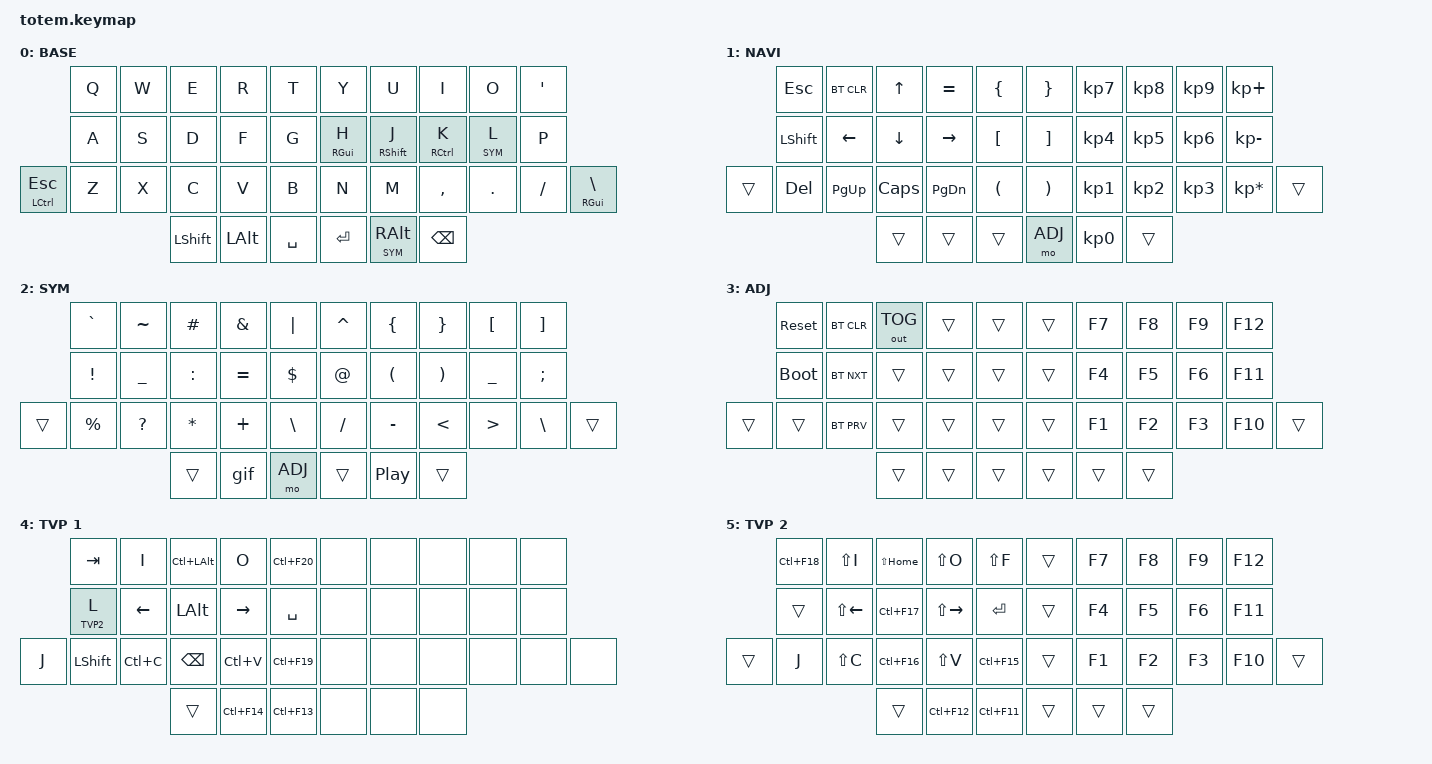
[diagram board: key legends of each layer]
//
//                                                        ▀▀▀▀▀     ▀▀▀▀▀          ▀▀█▀▀
//                                                        ▄▀▀▀▄  ▄  ▄▀▀▀▄  ▄  ▄▀▀▀▄  █  ▄▀▀▀▄
//                                                        █   █  █  █   █  █  █   █  █  █   █
//                                                         ▀▀▀   █   ▀▀▀   █   ▀▀▀   ▀   ▀▀▀
//                                                               █      ▄▄▄█▄▄▄    █   █  
//                                                               ▀      █  █  █     █▄█
//                                                             ▀▀▀▀▀    █  █  █      ▀
//                                                                      ▀  ▀  ▀
//
// ▄▄▄▄▄▄▄▄▄▄▄▄▄▄▄▄▄▄▄▄▄▄▄▄▄▄▄▄▄▄▄▄▄▄▄▄▄▄▄▄▄▄▄▄▄▄▄▄▄▄▄▄▄▄▄▄▄▄▄▄▄▄▄▄▄▄▄▄▄▄▄▄▄▄▄▄▄▄▄▄▄▄▄▄▄▄▄▄▄▄▄▄▄▄▄▄▄▄▄▄▄▄▄▄▄▄▄▄▄▄▄▄▄▄▄▄▄▄▄▄▄▄▄▄▄▄▄▄▄▄▄▄▄▄▄▄▄▄▄▄▄▄▄▄▄▄▄▄▄
       

#include <behaviors.dtsi>
#include <dt-bindings/zmk/keys.h>
#include <dt-bindings/zmk/bt.h>
#include <dt-bindings/zmk/outputs.h>

#define BASE 0
#define NAV  1
#define SYM  2
#define ADJ  3
#define TVP1 4
#define TVP2 5

&mt {
  quick-tap-ms = <100>;
  global-quick-tap;
  flavor = "tap-preferred";
  tapping-term-ms = <170>;
};

/ {
     combos {
            compatible = "zmk,combos";
            combo_esc {
                timeout-ms = <50>;
                key-positions = <0 1>;
                bindings = <&kp ESC>;
            };
            combo_tvp {
                timeout-ms = <100>;
                key-positions = <11 12 13>;
                bindings = <&tog TVP1>;
            };
    };

    macros {
        gif: gif {
            label = "giphy";
            compatible = "zmk,behavior-macro";
            #binding-cells = <0>;
            bindings
                = <&macro_press &kp LSHFT>
                , <&macro_tap &kp N2>
                , <&macro_release &kp LSHFT>
                , <&macro_tap &kp G &kp I &kp F>
                ;
        };
    };

        keymap {
                compatible = "zmk,keymap";
// ▄▄▄▄▄▄▄▄▄▄▄▄▄▄▄▄▄▄▄▄▄▄▄▄▄▄▄▄▄▄▄▄▄▄▄▄▄▄▄▄▄▄▄▄▄▄▄▄▄▄▄▄▄▄▄▄▄▄▄▄▄▄▄▄▄▄▄▄▄▄▄▄▄▄▄▄▄▄▄▄▄▄▄▄▄▄▄▄▄▄▄▄▄▄▄▄▄▄▄▄▄▄▄▄▄▄▄▄▄▄▄▄▄▄▄▄▄▄▄▄▄▄▄▄▄▄▄▄▄▄▄▄▄▄▄▄▄▄▄▄▄▄▄▄▄▄▄▄▄

                base_layer {
// ┏━━━━━━━━━━━━━━━━━━━━━━━━━━━━━━━━━━━━━━━┓
label= "BASE"                              ;
// ┗━━━━━━━━━━━━━━━━━━━━━━━━━━━━━━━━━━━━━━━┛

//             ┏━━━━━━━━━━━┳━━━━━━━━━━━┳━━━━━━━━━━━┳━━━━━━━━━━━┳━━━━━━━━━━━┓   ┏━━━━━━━━━━━┳━━━━━━━━━━━┳━━━━━━━━━━━┳━━━━━━━━━━━┳━━━━━━━━━━━┓
//             ┃     Q     ┃     W     ┃     E     ┃     R     ┃     T     ┃   ┃     Y     ┃     U     ┃     I     ┃     O     ┃     '     ┃
//             ┣━━━━━━━━━━━╋━━━━━━━━━━━╋━━━━━━━━━━━╋━━━━━━━━━━━╋━━━━━━━━━━━┫   ┣━━━━━━━━━━━╋━━━━━━━━━━━╋━━━━━━━━━━━╋━━━━━━━━━━━╋━━━━━━━━━━━┫
//             ┃     A     ┃     S     ┃     D     ┃     F     ┃     G     ┃   ┃     H     ┃     J     ┃     K     ┃     L     ┃     P     ┃
// ┏━━━━━━━━━━━╋━━━━━━━━━━━╋━━━━━━━━━━━╋━━━━━━━━━━━╋━━━━━━━━━━━╋━━━━━━━━━━━┫   ┣━━━━━━━━━━━╋━━━━━━━━━━━╋━━━━━━━━━━━╋━━━━━━━━━━━╋━━━━━━━━━━━╋━━━━━━━━━━━┓
// ┃     ESC   ┃     Z     ┃     X     ┃     C     ┃     V     ┃     B     ┃   ┃     N     ┃     M     ┃     ,     ┃     .     ┃     /     ┃     \     ┃
// ┗━━━━━━━━━━━┻━━━━━━━━━━━┻━━━━━━━━━━━╋━━━━━━━━━━━╋━━━━━━━━━━━╋━━━━━━━━━━━┫   ┣━━━━━━━━━━━╋━━━━━━━━━━━╋━━━━━━━━━━━╋━━━━━━━━━━━┻━━━━━━━━━━━┻━━━━━━━━━━━┛
//                                     ┃    DEL    ┃    TAB    ┃    SPC    ┃   ┃   ENTER   ┃   RALT    ┃   BSPC    ┃
//                                     ┗━━━━━━━━━━━┻━━━━━━━━━━━┻━━━━━━━━━━━┛   ┗━━━━━━━━━━━┻━━━━━━━━━━━┻━━━━━━━━━━━┛
 bindings = <
// ╷           ╷           ╷           ╷           ╷           ╷           ╷   ╷           ╷           ╷           ╷           ╷           ╷           ╷

                &kp Q       &kp W       &kp E       &kp R       &kp T           &kp Y       &kp U       &kp I       &kp O       &kp SQT
                &kp A       &kp S       &kp D       &kp F       &kp G      &mt RGUI H  &mt RSHFT J &mt RCTRL K &lt SYM L   &kp P
 &mt LCTL ESC   &kp Z       &kp X       &kp C       &kp V       &kp B           &kp N       &kp M       &kp COMMA   &kp DOT     &kp FSLH    &mt RGUI BSLH
                                        &kp LSHFT   &kp LALT   &kp SPACE       &kp RET   &lt SYM RALT  &kp BSPC
                        >;
                };

// ▄▄▄▄▄▄▄▄▄▄▄▄▄▄▄▄▄▄▄▄▄▄▄▄▄▄▄▄▄▄▄▄▄▄▄▄▄▄▄▄▄▄▄▄▄▄▄▄▄▄▄▄▄▄▄▄▄▄▄▄▄▄▄▄▄▄▄▄▄▄▄▄▄▄▄▄▄▄▄▄▄▄▄▄▄▄▄▄▄▄▄▄▄▄▄▄▄▄▄▄▄▄▄▄▄▄▄▄▄▄▄▄▄▄▄▄▄▄▄▄▄▄▄▄▄▄▄▄▄▄▄▄▄▄▄▄▄▄▄▄▄▄▄▄▄▄▄▄▄


                nav_layer {
// ┏━━━━━━━━━━━━━━━━━━━━━━━━━━━━━━━━━━━━━━━┓
label= "NAVI"                              ;
// ┗━━━━━━━━━━━━━━━━━━━━━━━━━━━━━━━━━━━━━━━┛
//             ┏━━━━━━━━━━━┳━━━━━━━━━━━┳━━━━━━━━━━━┳━━━━━━━━━━━┳━━━━━━━━━━━┓   ┏━━━━━━━━━━━┳━━━━━━━━━━━┳━━━━━━━━━━━┳━━━━━━━━━━━┳━━━━━━━━━━━┓
//             ┃           ┃           ┃     UP    ┃           ┃     {     ┃   ┃     }     ┃     7     ┃     8     ┃     9     ┃     +     ┃
//             ┣━━━━━━━━━━━╋━━━━━━━━━━━╋━━━━━━━━━━━╋━━━━━━━━━━━╋━━━━━━━━━━━┫   ┣━━━━━━━━━━━╋━━━━━━━━━━━╋━━━━━━━━━━━╋━━━━━━━━━━━╋━━━━━━━━━━━┫
//             ┃   SHIFT   ┃   LEFT    ┃    DOWN   ┃   RIGHT   ┃     [     ┃   ┃     ]     ┃     4     ┃     5     ┃     6     ┃     -     ┃
// ┏━━━━━━━━━━━╋━━━━━━━━━━━╋━━━━━━━━━━━╋━━━━━━━━━━━╋━━━━━━━━━━━╋━━━━━━━━━━━┫   ┣━━━━━━━━━━━╋━━━━━━━━━━━╋━━━━━━━━━━━╋━━━━━━━━━━━╋━━━━━━━━━━━╋━━━━━━━━━━━┓
// ┃           ┃           ┃   P UP    ┃  C LOCK   ┃  P DOWN   ┃     (     ┃   ┃     )     ┃     1     ┃     2     ┃     3     ┃     *     ┃           ┃
// ┗━━━━━━━━━━━┻━━━━━━━━━━━┻━━━━━━━━━━━╋━━━━━━━━━━━╋━━━━━━━━━━━╋━━━━━━━━━━━┫   ┣━━━━━━━━━━━╋━━━━━━━━━━━╋━━━━━━━━━━━╋━━━━━━━━━━━┻━━━━━━━━━━━┻━━━━━━━━━━━┛
//                                     ┃           ┃    TAB    ┃    SPC    ┃   ┃    DEL    ┃     0     ┃           ┃
//                                     ┗━━━━━━━━━━━┻━━━━━━━━━━━┻━━━━━━━━━━━┛   ┗━━━━━━━━━━━┻━━━━━━━━━━━┻━━━━━━━━━━━┛
 bindings = <
// ╷           ╷           ╷           ╷           ╷           ╷           ╷   ╷           ╷           ╷           ╷           ╷           ╷           ╷

                &kp ESC     &bt BT_CLR  &kp UP      &kp EQUAL   &kp LBRC        &kp RBRC    &kp KP_N7   &kp KP_N8   &kp KP_N9   &kp KP_PLUS
                &kp LSHFT   &kp LEFT    &kp DOWN    &kp RIGHT   &kp LBKT        &kp RBKT    &kp KP_N4   &kp KP_N5   &kp KP_N6   &kp KP_MINUS
    &trans      &kp DEL     &kp PG_UP   &kp CAPS    &kp PG_DN   &kp LPAR        &kp RPAR    &kp KP_N1   &kp KP_N2   &kp KP_N3   &kp KP_MULTIPLY &trans      
                                        &trans      &trans      &trans          &mo ADJ     &kp KP_N0   &trans      
                        >;
                };

// ▄▄▄▄▄▄▄▄▄▄▄▄▄▄▄▄▄▄▄▄▄▄▄▄▄▄▄▄▄▄▄▄▄▄▄▄▄▄▄▄▄▄▄▄▄▄▄▄▄▄▄▄▄▄▄▄▄▄▄▄▄▄▄▄▄▄▄▄▄▄▄▄▄▄▄▄▄▄▄▄▄▄▄▄▄▄▄▄▄▄▄▄▄▄▄▄▄▄▄▄▄▄▄▄▄▄▄▄▄▄▄▄▄▄▄▄▄▄▄▄▄▄▄▄▄▄▄▄▄▄▄▄▄▄▄▄▄▄▄▄▄▄▄▄▄▄▄▄▄


                sim_layer {
// ┏━━━━━━━━━━━━━━━━━━━━━━━━━━━━━━━━━━━━━━━┓
label= "SYM"                               ;
// ┗━━━━━━━━━━━━━━━━━━━━━━━━━━━━━━━━━━━━━━━┛
//             ┏━━━━━━━━━━━┳━━━━━━━━━━━┳━━━━━━━━━━━┳━━━━━━━━━━━┳━━━━━━━━━━━┓   ┏━━━━━━━━━━━┳━━━━━━━━━━━┳━━━━━━━━━━━┳━━━━━━━━━━━┳━━━━━━━━━━━┓
//             ┃     `     ┃     ~     ┃     #     ┃     &     ┃     |     ┃   ┃     ˆ     ┃     {     ┃     }     ┃     [     ┃     ]     ┃
//             ┣━━━━━━━━━━━╋━━━━━━━━━━━╋━━━━━━━━━━━╋━━━━━━━━━━━╋━━━━━━━━━━━┫   ┣━━━━━━━━━━━╋━━━━━━━━━━━╋━━━━━━━━━━━╋━━━━━━━━━━━╋━━━━━━━━━━━┫
//             ┃     !     ┃     _     ┃     :     ┃     =     ┃     $     ┃   ┃     @     ┃     (     ┃     )     ┃     _     ┃     ;     ┃
// ┏━━━━━━━━━━━╋━━━━━━━━━━━╋━━━━━━━━━━━╋━━━━━━━━━━━╋━━━━━━━━━━━╋━━━━━━━━━━━┫   ┣━━━━━━━━━━━╋━━━━━━━━━━━╋━━━━━━━━━━━╋━━━━━━━━━━━╋━━━━━━━━━━━╋━━━━━━━━━━━┓
// ┃           ┃     %     ┃     ?     ┃     *     ┃     +     ┃     \     ┃   ┃     /     ┃     -     ┃     <     ┃     >     ┃     \     ┃           ┃
// ┗━━━━━━━━━━━┻━━━━━━━━━━━┻━━━━━━━━━━━╋━━━━━━━━━━━╋━━━━━━━━━━━╋━━━━━━━━━━━┫   ┣━━━━━━━━━━━╋━━━━━━━━━━━╋━━━━━━━━━━━╋━━━━━━━━━━━┻━━━━━━━━━━━┻━━━━━━━━━━━┛
//                                     ┃           ┃    GIF    ┃    ADJ    ┃   ┃           ┃           ┃           ┃
//                                     ┗━━━━━━━━━━━┻━━━━━━━━━━━┻━━━━━━━━━━━┛   ┗━━━━━━━━━━━┻━━━━━━━━━━━┻━━━━━━━━━━━┛
 bindings = <
// ╷           ╷           ╷           ╷           ╷           ╷           ╷   ╷           ╷           ╷           ╷           ╷           ╷           ╷

                &kp GRAVE   &kp TILDE   &kp HASH    &kp AMPS    &kp PIPE        &kp CARET   &kp LBRC     &kp RBRC   &kp LBKT    &kp RBKT      
                &kp EXCL    &kp UNDER   &kp COLON   &kp EQUAL   &kp DOLLAR      &kp AT      &kp LPAR     &kp RPAR   &kp UNDER   &kp SEMI 
    &trans      &kp PRCNT   &kp QMARK   &kp STAR    &kp PLUS    &kp BSLH        &kp SLASH   &kp MINUS    &kp LT     &kp GT      &kp BSLH   &trans         
                                        &trans      &gif        &mo ADJ         &trans      &kp C_PP     &trans      
                        >;
                };

// ▄▄▄▄▄▄▄▄▄▄▄▄▄▄▄▄▄▄▄▄▄▄▄▄▄▄▄▄▄▄▄▄▄▄▄▄▄▄▄▄▄▄▄▄▄▄▄▄▄▄▄▄▄▄▄▄▄▄▄▄▄▄▄▄▄▄▄▄▄▄▄▄▄▄▄▄▄▄▄▄▄▄▄▄▄▄▄▄▄▄▄▄▄▄▄▄▄▄▄▄▄▄▄▄▄▄▄▄▄▄▄▄▄▄▄▄▄▄▄▄▄▄▄▄▄▄▄▄▄▄▄▄▄▄▄▄▄▄▄▄▄▄▄▄▄▄▄▄▄


                adjust_layer {
// ┏━━━━━━━━━━━━━━━━━━━━━━━━━━━━━━━━━━━━━━━┓
label= "ADJ"                               ;
// ┗━━━━━━━━━━━━━━━━━━━━━━━━━━━━━━━━━━━━━━━┛
//             ┏━━━━━━━━━━━┳━━━━━━━━━━━┳━━━━━━━━━━━┳━━━━━━━━━━━┳━━━━━━━━━━━┓   ┏━━━━━━━━━━━┳━━━━━━━━━━━┳━━━━━━━━━━━┳━━━━━━━━━━━┳━━━━━━━━━━━┓
//             ┃   RESET   ┃ BT CLEAR  ┃  OUT TOG  ┃           ┃           ┃   ┃           ┃    F7     ┃    F8     ┃    F9     ┃    F12    ┃
//             ┣━━━━━━━━━━━╋━━━━━━━━━━━╋━━━━━━━━━━━╋━━━━━━━━━━━╋━━━━━━━━━━━┫   ┣━━━━━━━━━━━╋━━━━━━━━━━━╋━━━━━━━━━━━╋━━━━━━━━━━━╋━━━━━━━━━━━┫
//             ┃ BOOTLOAD  ┃ BT NEXT   ┃           ┃           ┃           ┃   ┃           ┃    F4     ┃    F5     ┃    F6     ┃    F11    ┃
// ┏━━━━━━━━━━━╋━━━━━━━━━━━╋━━━━━━━━━━━╋━━━━━━━━━━━╋━━━━━━━━━━━╋━━━━━━━━━━━┫   ┣━━━━━━━━━━━╋━━━━━━━━━━━╋━━━━━━━━━━━╋━━━━━━━━━━━╋━━━━━━━━━━━╋━━━━━━━━━━━┓
// ┃           ┃           ┃ BT PREV   ┃           ┃           ┃           ┃   ┃           ┃    F1     ┃    F2     ┃    F3     ┃    F10    ┃           ┃
// ┗━━━━━━━━━━━┻━━━━━━━━━━━┻━━━━━━━━━━━╋━━━━━━━━━━━╋━━━━━━━━━━━╋━━━━━━━━━━━┫   ┣━━━━━━━━━━━╋━━━━━━━━━━━╋━━━━━━━━━━━╋━━━━━━━━━━━┻━━━━━━━━━━━┻━━━━━━━━━━━┛
//                                     ┃           ┃           ┃           ┃   ┃           ┃           ┃           ┃
//                                     ┗━━━━━━━━━━━┻━━━━━━━━━━━┻━━━━━━━━━━━┛   ┗━━━━━━━━━━━┻━━━━━━━━━━━┻━━━━━━━━━━━┛
 bindings = <
// ╷           ╷           ╷           ╷           ╷           ╷           ╷   ╷           ╷           ╷           ╷           ╷           ╷           ╷

                &sys_reset  &bt BT_CLR &out OUT_TOG &trans      &trans          &trans      &kp F7      &kp F8      &kp F9      &kp F12
                &bootloader &bt BT_NXT  &trans      &trans      &trans          &trans      &kp F4      &kp F5      &kp F6      &kp F11  
    &trans      &trans      &bt BT_PRV  &trans      &trans      &trans          &trans      &kp F1      &kp F2      &kp F3      &kp F10     &trans         
                                        &trans      &trans      &trans          &trans      &trans      &trans      
                        >;
                };

// ▄▄▄▄▄▄▄▄▄▄▄▄▄▄▄▄▄▄▄▄▄▄▄▄▄▄▄▄▄▄▄▄▄▄▄▄▄▄▄▄▄▄▄▄▄▄▄▄▄▄▄▄▄▄▄▄▄▄▄▄▄▄▄▄▄▄▄▄▄▄▄▄▄▄▄▄▄▄▄▄▄▄▄▄▄▄▄▄▄▄▄▄▄▄▄▄▄▄▄▄▄▄▄▄▄▄▄▄▄▄▄▄▄▄▄▄▄▄▄▄▄▄▄▄▄▄▄▄▄▄▄▄▄▄▄▄▄▄▄▄▄▄▄▄▄▄▄▄▄


                tvp1_layer {
// ┏━━━━━━━━━━━━━━━━━━━━━━━━━━━━━━━━━━━━━━━┓
label= "TVP 1"                             ;
// ┗━━━━━━━━━━━━━━━━━━━━━━━━━━━━━━━━━━━━━━━┛
//             ┏━━━━━━━━━━━┳━━━━━━━━━━━┳━━━━━━━━━━━┳━━━━━━━━━━━┳━━━━━━━━━━━┓   ┏━━━━━━━━━━━┳━━━━━━━━━━━┳━━━━━━━━━━━┳━━━━━━━━━━━┳━━━━━━━━━━━┓
//             ┃ NEXT FILE ┃ MARK IN   ┃ ROTATE    ┃ MARK OUT  ┃ SHOW SNAP ┃   ┃           ┃           ┃           ┃           ┃           ┃
//             ┣━━━━━━━━━━━╋━━━━━━━━━━━╋━━━━━━━━━━━╋━━━━━━━━━━━╋━━━━━━━━━━━┫   ┣━━━━━━━━━━━╋━━━━━━━━━━━╋━━━━━━━━━━━╋━━━━━━━━━━━╋━━━━━━━━━━━┫
//             ┃ TVP II    ┃ LEFT      ┃ PAN       ┃ RIGHT     ┃ PLAY/FLIP ┃   ┃           ┃           ┃           ┃           ┃           ┃
// ┏━━━━━━━━━━━╋━━━━━━━━━━━╋━━━━━━━━━━━╋━━━━━━━━━━━╋━━━━━━━━━━━╋━━━━━━━━━━━┫   ┣━━━━━━━━━━━╋━━━━━━━━━━━╋━━━━━━━━━━━╋━━━━━━━━━━━╋━━━━━━━━━━━╋━━━━━━━━━━━┓
// ┃ FULLSCR   ┃ SHIFT     ┃ COPY      ┃ DELETE    ┃ PASTE     ┃ IMG MARK  ┃   ┃           ┃           ┃           ┃           ┃           ┃           ┃
// ┗━━━━━━━━━━━┻━━━━━━━━━━━┻━━━━━━━━━━━╋━━━━━━━━━━━╋━━━━━━━━━━━╋━━━━━━━━━━━┫   ┣━━━━━━━━━━━╋━━━━━━━━━━━╋━━━━━━━━━━━╋━━━━━━━━━━━┻━━━━━━━━━━━┻━━━━━━━━━━━┛
//                                     ┃           ┃ UNDO/SAVE ┃  SEL/MOV  ┃   ┃           ┃           ┃           ┃
//                                     ┗━━━━━━━━━━━┻━━━━━━━━━━━┻━━━━━━━━━━━┛   ┗━━━━━━━━━━━┻━━━━━━━━━━━┻━━━━━━━━━━━┛
 bindings = <
// ╷           ╷           ╷           ╷           ╷           ╷           ╷   ╷           ╷           ╷           ╷           ╷           ╷           ╷

                &kp TAB     &kp I       &kp LC(LALT) &kp O      &kp LC(F20)     &none       &none       &none       &none       &none
                &lt TVP2 L  &kp LEFT    &kp LALT    &kp RIGHT   &kp SPACE       &none       &none       &none       &none       &none
    &kp J       &kp LSHFT   &kp LC(C)   &kp BSPC    &kp LC(V)   &kp LC(F19)     &none       &none       &none       &none       &none       &none        
                                        &trans      &kp LC(F14) &kp LC(F13)     &none       &none       &none    
                        >;
                };

// ▄▄▄▄▄▄▄▄▄▄▄▄▄▄▄▄▄▄▄▄▄▄▄▄▄▄▄▄▄▄▄▄▄▄▄▄▄▄▄▄▄▄▄▄▄▄▄▄▄▄▄▄▄▄▄▄▄▄▄▄▄▄▄▄▄▄▄▄▄▄▄▄▄▄▄▄▄▄▄▄▄▄▄▄▄▄▄▄▄▄▄▄▄▄▄▄▄▄▄▄▄▄▄▄▄▄▄▄▄▄▄▄▄▄▄▄▄▄▄▄▄▄▄▄▄▄▄▄▄▄▄▄▄▄▄▄▄▄▄▄▄▄▄▄▄▄▄▄▄


                tvp2_layer {
// ┏━━━━━━━━━━━━━━━━━━━━━━━━━━━━━━━━━━━━━━━┓
label= "TVP 2"                             ;
// ┗━━━━━━━━━━━━━━━━━━━━━━━━━━━━━━━━━━━━━━━┛
//             ┏━━━━━━━━━━━┳━━━━━━━━━━━┳━━━━━━━━━━━┳━━━━━━━━━━━┳━━━━━━━━━━━┓   ┏━━━━━━━━━━━┳━━━━━━━━━━━┳━━━━━━━━━━━┳━━━━━━━━━━━┳━━━━━━━━━━━┓
//             ┃ SOLO      ┃ TOGGLE IN ┃ RESET ROT ┃ TOGGLE OUT┃ TAKE SNAP ┃   ┃           ┃           ┃           ┃           ┃           ┃
//             ┣━━━━━━━━━━━╋━━━━━━━━━━━╋━━━━━━━━━━━╋━━━━━━━━━━━╋━━━━━━━━━━━┫   ┣━━━━━━━━━━━╋━━━━━━━━━━━╋━━━━━━━━━━━╋━━━━━━━━━━━╋━━━━━━━━━━━┫
//             ┃ ---       ┃ LAST KEY  ┃ NEW KEY   ┃ NEXT KEY  ┃ ENTER     ┃   ┃           ┃           ┃           ┃           ┃           ┃
// ┏━━━━━━━━━━━╋━━━━━━━━━━━╋━━━━━━━━━━━╋━━━━━━━━━━━╋━━━━━━━━━━━╋━━━━━━━━━━━┫   ┣━━━━━━━━━━━╋━━━━━━━━━━━╋━━━━━━━━━━━╋━━━━━━━━━━━╋━━━━━━━━━━━╋━━━━━━━━━━━┓
// ┃           ┃ FULLSCR   ┃ CPY2BRUSH ┃ DEL HEAD  ┃ PSTinPLACE┃ BOOK MARK ┃   ┃           ┃           ┃           ┃           ┃           ┃           ┃
// ┗━━━━━━━━━━━┻━━━━━━━━━━━┻━━━━━━━━━━━╋━━━━━━━━━━━╋━━━━━━━━━━━╋━━━━━━━━━━━┫   ┣━━━━━━━━━━━╋━━━━━━━━━━━╋━━━━━━━━━━━╋━━━━━━━━━━━┻━━━━━━━━━━━┻━━━━━━━━━━━┛
//                                     ┃           ┃ REDO/SAV1 ┃TRANS/WARP ┃   ┃           ┃           ┃           ┃
//                                     ┗━━━━━━━━━━━┻━━━━━━━━━━━┻━━━━━━━━━━━┛   ┗━━━━━━━━━━━┻━━━━━━━━━━━┻━━━━━━━━━━━┛
 bindings = <
// ╷           ╷           ╷           ╷           ╷           ╷           ╷   ╷           ╷           ╷           ╷           ╷           ╷           ╷

                &kp LC(F18) &kp LS(I)  &kp LS(HOME) &kp LS(O)   &kp LS(F)       &trans      &kp F7      &kp F8      &kp F9      &kp F12
                &trans      &kp LS(LEFT) &kp LC(F17) &kp LS(RIGHT) &kp RET      &trans      &kp F4      &kp F5      &kp F6      &kp F11  
    &trans      &kp J       &kp LS(C)   &kp LC(F16) &kp LS(V)   &kp LC(F15)     &trans      &kp F1      &kp F2      &kp F3      &kp F10     &trans         
                                        &trans      &kp LC(F12) &kp LC(F11)     &trans      &trans      &trans      
                        >;
                };
        };
};
